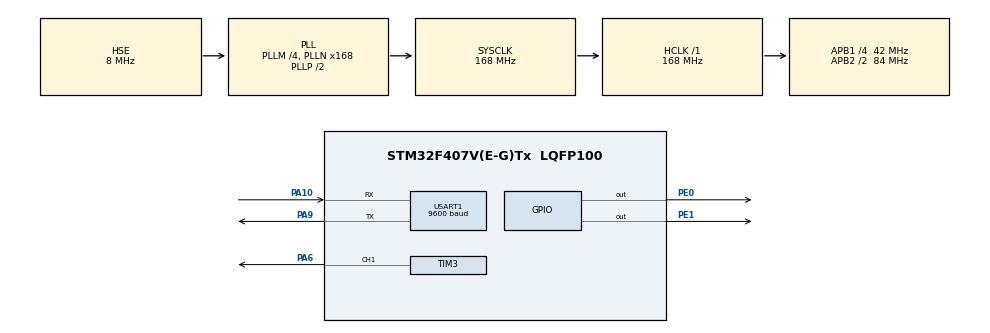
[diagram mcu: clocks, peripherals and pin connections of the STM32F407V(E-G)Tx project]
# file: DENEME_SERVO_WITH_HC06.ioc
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Mcu.Family=STM32F4
Mcu.Name=STM32F407V(E-G)Tx
Mcu.Package=LQFP100
NVIC.PriorityGroup=NVIC_PRIORITYGROUP_4
PA10.Mode=Asynchronous
PA10.Signal=USART1_RX
PA6.Signal=S_TIM3_CH1
PA9.Mode=Asynchronous
PA9.Signal=USART1_TX
PE0.Signal=GPIO_Output
PE1.Signal=GPIO_Output
PH0-OSC_IN.Mode=HSE-External-Oscillator
PH0-OSC_IN.Signal=RCC_OSC_IN
PH1-OSC_OUT.Mode=HSE-External-Oscillator
PH1-OSC_OUT.Signal=RCC_OSC_OUT
ProjectManager.HeapSize=0x200
ProjectManager.StackSize=0x400
ProjectManager.TargetToolchain=STM32CubeIDE
RCC.48MHZClocksFreq_Value=84000000
RCC.AHBFreq_Value=168000000
RCC.APB1CLKDivider=RCC_HCLK_DIV4
RCC.APB1Freq_Value=42000000
RCC.APB1TimFreq_Value=84000000
RCC.APB2CLKDivider=RCC_HCLK_DIV2
RCC.APB2Freq_Value=84000000
RCC.APB2TimFreq_Value=168000000
RCC.CortexFreq_Value=168000000
RCC.HCLKFreq_Value=168000000
RCC.HSE_VALUE=8000000
RCC.HSI_VALUE=16000000
RCC.LSE_VALUE=32768
RCC.PLLM=4
RCC.PLLN=168
RCC.PLLSourceVirtual=RCC_PLLSOURCE_HSE
RCC.SYSCLKFreq_VALUE=168000000
RCC.SYSCLKSource=RCC_SYSCLKSOURCE_PLLCLK
RCC.VCOOutputFreq_Value=336000000
SH.S_TIM3_CH1.0=TIM3_CH1,PWM Generation1 CH1
TIM3.Channel-PWM\ Generation1\ CH1=TIM_CHANNEL_1
TIM3.Period=1999
TIM3.Prescaler=83
USART1.BaudRate=9600
USART1.VirtualMode=VM_ASYNC
VP_TIM3_VS_ClockSourceINT.Mode=Internal
board=custom

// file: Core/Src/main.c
/* USER CODE BEGIN Header */
/**
  ******************************************************************************
  * @file           : main.c
  * @brief          : Main program body
  ******************************************************************************
  * @attention
  *
  * <h2><center>&copy; Copyright (c) 2021 STMicroelectronics.
  * All rights reserved.</center></h2>
  *
  * This software component is licensed by ST under BSD 3-Clause license,
  * the "License"; You may not use this file except in compliance with the
  * License. You may obtain a copy of the License at:
  *                        opensource.org/licenses/BSD-3-Clause
  *
  ******************************************************************************
  */
/* USER CODE END Header */
#include "main.h"

TIM_HandleTypeDef htim3;

UART_HandleTypeDef huart1;

/* USER CODE BEGIN PV */
char rx_data[3]  ;
uint16_t counter = 500 ;
/* USER CODE END PV */

void SystemClock_Config(void);
static void MX_GPIO_Init(void);
static void MX_USART1_UART_Init(void);
static void MX_TIM3_Init(void);

int main(void)
{

  /* MCU Configuration--------------------------------------------------------*/

  /* Reset of all peripherals, Initializes the Flash interface and the Systick. */
  HAL_Init();

  /* Configure the system clock */
  SystemClock_Config();

  /* Initialize all configured peripherals */
  MX_GPIO_Init();
  MX_USART1_UART_Init();
  MX_TIM3_Init();
  /* USER CODE BEGIN 2 */
  HAL_TIM_PWM_Start(&htim3, TIM_CHANNEL_1); // Start Timer for PWM
  /* USER CODE END 2 */

  /* Infinite loop */
  while (1)
  {

    /* USER CODE BEGIN 3 */

	  // Link of project video --------> https://drive.google.com/file/d/1TnvW3-Xz7pFQmYpfpa4090gYjbYqBIqw/view?usp=sharing

	  HAL_UART_Receive(&huart1, (uint8_t *)rx_data, 3, 100);
	  if (rx_data[0] == '+' )
	  {
		  if (counter <= 2400)
			  counter += 100 ;
		  HAL_GPIO_WritePin(GPIOE, GPIO_PIN_0, GPIO_PIN_SET);
		  HAL_Delay(300);
		  HAL_GPIO_WritePin(GPIOE, GPIO_PIN_0, GPIO_PIN_RESET);

	  }
	  if (rx_data[0] == '-')
	  {
		  if (counter >= 600) counter -= 100 ;
		  HAL_GPIO_WritePin(GPIOE, GPIO_PIN_1, GPIO_PIN_SET);
		  HAL_Delay(300);
		  HAL_GPIO_WritePin(GPIOE, GPIO_PIN_1, GPIO_PIN_RESET);
	  }

	  __HAL_TIM_SET_COMPARE(&htim3,TIM_CHANNEL_1,counter);
	  rx_data[0] = '\0' ; // Clear rx_data variable

  }
  /* USER CODE END 3 */
}

void SystemClock_Config(void)
{
  RCC_OscInitTypeDef RCC_OscInitStruct = {0};
  RCC_ClkInitTypeDef RCC_ClkInitStruct = {0};

  /** Configure the main internal regulator output voltage
  */
  __HAL_RCC_PWR_CLK_ENABLE();
  __HAL_PWR_VOLTAGESCALING_CONFIG(PWR_REGULATOR_VOLTAGE_SCALE1);
  /** Initializes the RCC Oscillators according to the specified parameters
  * in the RCC_OscInitTypeDef structure.
  */
  RCC_OscInitStruct.OscillatorType = RCC_OSCILLATORTYPE_HSE;
  RCC_OscInitStruct.HSEState = RCC_HSE_ON;
  RCC_OscInitStruct.PLL.PLLState = RCC_PLL_ON;
  RCC_OscInitStruct.PLL.PLLSource = RCC_PLLSOURCE_HSE;
  RCC_OscInitStruct.PLL.PLLM = 4;
  RCC_OscInitStruct.PLL.PLLN = 168;
  RCC_OscInitStruct.PLL.PLLP = RCC_PLLP_DIV2;
  RCC_OscInitStruct.PLL.PLLQ = 4;
  if (HAL_RCC_OscConfig(&RCC_OscInitStruct) != HAL_OK)
  {
    Error_Handler();
  }
  /** Initializes the CPU, AHB and APB buses clocks
  */
  RCC_ClkInitStruct.ClockType = RCC_CLOCKTYPE_HCLK|RCC_CLOCKTYPE_SYSCLK
                              |RCC_CLOCKTYPE_PCLK1|RCC_CLOCKTYPE_PCLK2;
  RCC_ClkInitStruct.SYSCLKSource = RCC_SYSCLKSOURCE_PLLCLK;
  RCC_ClkInitStruct.AHBCLKDivider = RCC_SYSCLK_DIV1;
  RCC_ClkInitStruct.APB1CLKDivider = RCC_HCLK_DIV4;
  RCC_ClkInitStruct.APB2CLKDivider = RCC_HCLK_DIV2;

  if (HAL_RCC_ClockConfig(&RCC_ClkInitStruct, FLASH_LATENCY_5) != HAL_OK)
  {
    Error_Handler();
  }
}

static void MX_TIM3_Init(void)
{

  TIM_ClockConfigTypeDef sClockSourceConfig = {0};
  TIM_MasterConfigTypeDef sMasterConfig = {0};
  TIM_OC_InitTypeDef sConfigOC = {0};

  htim3.Instance = TIM3;
  htim3.Init.Prescaler = 83;
  htim3.Init.CounterMode = TIM_COUNTERMODE_UP;
  htim3.Init.Period = 1999;
  htim3.Init.ClockDivision = TIM_CLOCKDIVISION_DIV1;
  htim3.Init.AutoReloadPreload = TIM_AUTORELOAD_PRELOAD_DISABLE;
  if (HAL_TIM_Base_Init(&htim3) != HAL_OK)
  {
    Error_Handler();
  }
  sClockSourceConfig.ClockSource = TIM_CLOCKSOURCE_INTERNAL;
  if (HAL_TIM_ConfigClockSource(&htim3, &sClockSourceConfig) != HAL_OK)
  {
    Error_Handler();
  }
  if (HAL_TIM_PWM_Init(&htim3) != HAL_OK)
  {
    Error_Handler();
  }
  sMasterConfig.MasterOutputTrigger = TIM_TRGO_RESET;
  sMasterConfig.MasterSlaveMode = TIM_MASTERSLAVEMODE_DISABLE;
  if (HAL_TIMEx_MasterConfigSynchronization(&htim3, &sMasterConfig) != HAL_OK)
  {
    Error_Handler();
  }
  sConfigOC.OCMode = TIM_OCMODE_PWM1;
  sConfigOC.Pulse = 0;
  sConfigOC.OCPolarity = TIM_OCPOLARITY_HIGH;
  sConfigOC.OCFastMode = TIM_OCFAST_DISABLE;
  if (HAL_TIM_PWM_ConfigChannel(&htim3, &sConfigOC, TIM_CHANNEL_1) != HAL_OK)
  {
    Error_Handler();
  }
  HAL_TIM_MspPostInit(&htim3);

}

static void MX_USART1_UART_Init(void)
{

  huart1.Instance = USART1;
  huart1.Init.BaudRate = 9600;
  huart1.Init.WordLength = UART_WORDLENGTH_8B;
  huart1.Init.StopBits = UART_STOPBITS_1;
  huart1.Init.Parity = UART_PARITY_NONE;
  huart1.Init.Mode = UART_MODE_TX_RX;
  huart1.Init.HwFlowCtl = UART_HWCONTROL_NONE;
  huart1.Init.OverSampling = UART_OVERSAMPLING_16;
  if (HAL_UART_Init(&huart1) != HAL_OK)
  {
    Error_Handler();
  }

}

static void MX_GPIO_Init(void)
{
  GPIO_InitTypeDef GPIO_InitStruct = {0};

  /* GPIO Ports Clock Enable */
  __HAL_RCC_GPIOH_CLK_ENABLE();
  __HAL_RCC_GPIOA_CLK_ENABLE();
  __HAL_RCC_GPIOE_CLK_ENABLE();

  /*Configure GPIO pin Output Level */
  HAL_GPIO_WritePin(GPIOE, GPIO_PIN_0|GPIO_PIN_1, GPIO_PIN_RESET);

  /*Configure GPIO pins : PE0 PE1 */
  GPIO_InitStruct.Pin = GPIO_PIN_0|GPIO_PIN_1;
  GPIO_InitStruct.Mode = GPIO_MODE_OUTPUT_PP;
  GPIO_InitStruct.Pull = GPIO_NOPULL;
  GPIO_InitStruct.Speed = GPIO_SPEED_FREQ_LOW;
  HAL_GPIO_Init(GPIOE, &GPIO_InitStruct);

}

void Error_Handler(void)
{
  __disable_irq();
  while (1)
  {
  }
}

/************************ (C) COPYRIGHT STMicroelectronics *****END OF FILE****/
